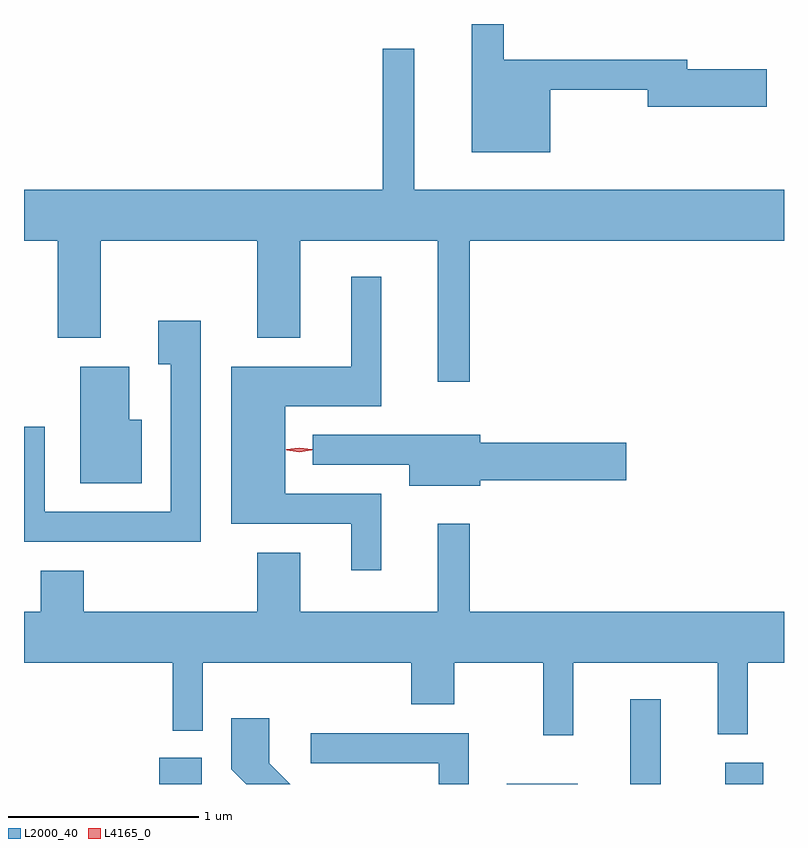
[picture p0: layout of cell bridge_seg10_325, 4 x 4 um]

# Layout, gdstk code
import gdstk
lib = gdstk.Library(unit=1e-6, precision=1e-09)
def R(c, l, rs):  # rectangles x0, y0, x1, y1
    for r in rs: c.add(gdstk.rectangle(r[:2], r[2:], *l))
def P(c, l, *ps):  # polygons
    for p in ps: c.add(gdstk.Polygon(p, *l))
L2000_40 = (2000, 40)
L4165_0 = (4165, 0)

bridge_seg10_325 = lib.new_cell('bridge_seg10_325')
R(bridge_seg10_325, L2000_40, [(1350.446,2168.777,1350.669,2168.914), (1352.276,2168.777,1352.649,2168.779), (1352.926,2168.777,1353.084,2169.223), (1353.426,2168.777,1353.624,2168.889)])
P(bridge_seg10_325, L2000_40, [(1352.504,2172.431),(1353.016,2172.431),(1353.016,2172.341),(1353.644,2172.341),(1353.644,2172.539),(1353.224,2172.539),(1353.224,2172.589),(1352.259,2172.589),(1352.259,2172.777),(1352.091,2172.777),(1352.091,2172.101),(1352.504,2172.101)],
  [(1352.079,2171.636),(1353.734,2171.636),(1353.734,2171.904),(1351.789,2171.904),(1351.789,2172.648),(1351.621,2172.648),(1351.621,2171.904),(1349.734,2171.904),(1349.734,2171.636),(1349.911,2171.636),(1349.911,2171.126),(1350.139,2171.126),(1350.139,2171.636),(1350.961,2171.636),(1350.961,2171.126),(1351.189,2171.126),(1351.189,2171.636),(1351.911,2171.636),(1351.911,2170.893),(1352.079,2170.893)],
  [(1351.614,2170.304),(1351.109,2170.304),(1351.109,2170.766),(1351.614,2170.766),(1351.614,2171.448),(1351.456,2171.448),(1351.456,2170.974),(1350.826,2170.974),(1350.826,2170.146),(1351.456,2170.146),(1351.456,2169.903),(1351.614,2169.903)],
  [(1350.664,2171.214),(1350.441,2171.214),(1350.441,2170.986),(1350.506,2170.986),(1350.506,2170.209),(1349.844,2170.209),(1349.844,2170.658),(1349.734,2170.658),(1349.734,2170.051),(1350.664,2170.051)],
  [(1350.354,2170.694),(1350.289,2170.694),(1350.289,2170.974),(1350.031,2170.974),(1350.031,2170.361),(1350.354,2170.361)],
  [(1352.134,2170.376),(1352.904,2170.376),(1352.904,2170.574),(1352.134,2170.574),(1352.134,2170.614),(1351.253,2170.614),(1351.253,2170.456),(1351.761,2170.456),(1351.761,2170.346),(1352.134,2170.346)],
  [(1352.624,2169.416),(1353.386,2169.416),(1353.386,2169.038),(1353.544,2169.038),(1353.544,2169.416),(1353.734,2169.416),(1353.734,2169.684),(1352.079,2169.684),(1352.079,2170.148),(1351.911,2170.148),(1351.911,2169.684),(1351.189,2169.684),(1351.189,2169.994),(1350.961,2169.994),(1350.961,2169.684),(1350.049,2169.684),(1350.049,2169.899),(1349.821,2169.899),(1349.821,2169.684),(1349.734,2169.684),(1349.734,2169.416),(1350.516,2169.416),(1350.516,2169.058),(1350.674,2169.058),(1350.674,2169.416),(1351.771,2169.416),(1351.771,2169.196),(1351.999,2169.196),(1351.999,2169.416),(1352.466,2169.416),(1352.466,2169.033),(1352.624,2169.033)],
  [(1351.024,2168.887),(1351.024,2169.124),(1350.826,2169.124),(1350.826,2168.854),(1350.903,2168.777),(1351.134,2168.777)],
  [(1352.074,2169.044),(1351.243,2169.044),(1351.243,2168.886),(1351.916,2168.886),(1351.916,2168.777),(1352.074,2168.777)])
P(bridge_seg10_325, L4165_0, [(1351.182,2170.528),(1351.113,2170.537),(1351.113,2170.538),(1351.113,2170.538),(1351.182,2170.548),(1351.251,2170.538),(1351.251,2170.537),(1351.251,2170.537)],
  [(1351.183,2170.524),(1351.118,2170.533),(1351.118,2170.533),(1351.118,2170.534),(1351.183,2170.544),(1351.247,2170.534),(1351.248,2170.533),(1351.247,2170.533)])

lib.write_gds('bridge_seg10_325.gds')
